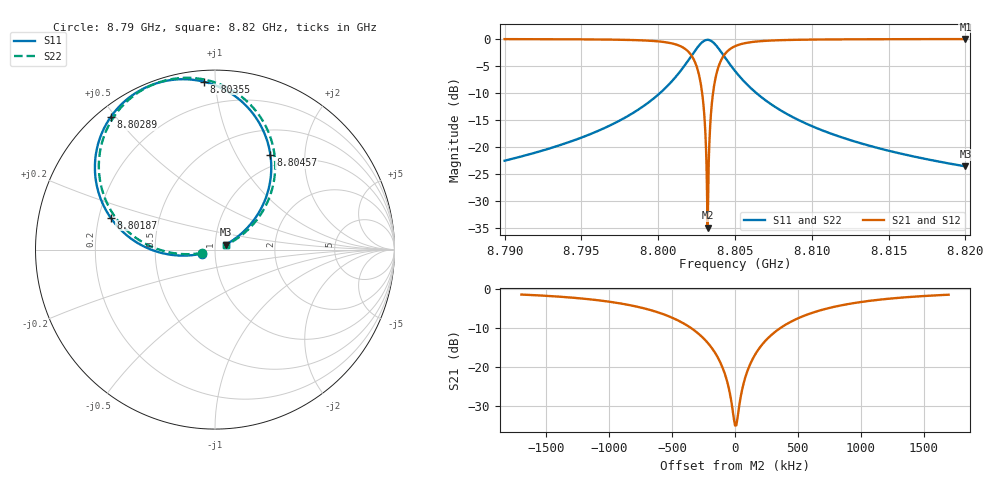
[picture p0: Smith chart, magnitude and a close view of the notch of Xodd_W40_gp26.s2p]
! Sonnet Data File
! From: emgraph Version : 16.52
! From Project: Qubit_Xmon2
! Data is De-embedded
! Data File Written: 10/18/2017 14:46:52
!< HDATE 10/18/2017 13:36:36
!< MDATE 10/18/2017 13:36:36
!< PARAMS
!< Lj = 11.0
!< Gap = 26.0
!< Pwid = 2000.0
!< Airgap = 24.0
!< Width = 40.0
!< END PARAMS
# GHZ S MA R 43.40000
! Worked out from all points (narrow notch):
!   3001 points, 8.79 GHz to 8.82 GHz, reference 43.4 ohm
!   highest |S21| = -0.02 dB at 8.82 GHz (marker M1); lowest = -34.9 dB at 8.80321 GHz (marker M2)
!   notch at M2: 34.8 dB deep, 285 kHz wide at half that depth
!   lowest |S11| = -23.6 dB at 8.82 GHz (marker M3), VSWR 1.14, Z = 48.9 + j2.74 ohm
!   |S11| at or under -10 dB: start of sweep to 8.800119 GHz; 8.806389 GHz to end of sweep
!   |S22| runs from -23.6 to -0.2 dB; largest |S21 - S12| = 0
!   S11 on the Smith chart (normalised r, x): 8.79 GHz: 0.87, -0.04; 8.80187 GHz: 0.25, +0.14; 8.80289 GHz: 0.04, +0.48; 8.80355 GHz: 0.06, +0.93; 8.80457 GHz: 0.83, +1.39; 8.82 GHz: 1.13, +0.06
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8.79  0.07483 -163.0  0.9971 -74.3  0.9971 -74.3  0.07483 -165.8
!< P1 F=8.79 Eeff=(4.81771806 -6.2668e-5) Z0=(43.3161425 -1.8142e-4) R=0.0 C=0.0
!< P2 F=8.79 Eeff=(4.81771806 -6.2668e-5) Z0=(43.3161425 -1.8142e-4) R=0.0 C=0.0
8.795  0.1223 -165.8  0.9922 -77.1  0.9922 -77.1  0.1223 -168.6
8.79784  0.1871 -169.7  0.9817 -80.9  0.9817 -80.9  0.1871 -172.4
8.8  0.3055 -176.9  0.9504 -87.9  0.9504 -87.9  0.3055 -179.6
8.80113  0.4442 174.4  0.892 -96.5  0.892 -96.5  0.4442 171.6
8.80187  0.6081 163.0  0.7855 -107.6  0.7855 -107.6  0.6081 160.3
8.80251  0.8187 144.8  0.5531 -125.1  0.5531 -125.1  0.8187 142.1
8.80273  0.894 135.8  0.4152 -133.4  0.4152 -133.4  0.894 133.0
8.80289  0.9397 128.2  0.2926 -139.9  0.2926 -139.9  0.9397 125.5
8.803  0.9632 122.7  0.1987 -143.8  0.1987 -143.8  0.9632 119.9
8.80312  0.9787 116.3  0.09051 -144.0  0.09051 -144.0  0.9787 113.6
8.80321  0.9826 111.5  0.01797 -85.0  0.01797 -85.0  0.9826 108.8
8.80331  0.9788 106.1  0.09045 3.8  0.09045 3.8  0.9788 103.4
8.80343  0.9633 99.8  0.1984 3.6  0.1984 3.6  0.9633 97.1
8.80355  0.9375 93.8  0.3001 -0.7  0.3001 -0.7  0.9375 91.1
8.80393  0.8167 77.4  0.5564 -15.4  0.5564 -15.4  0.8167 74.7
8.80457  0.6094 59.5  0.7846 -32.6  0.7846 -32.6  0.6094 56.8
8.805  0.5063 52.2  0.8572 -39.7  0.8572 -39.7  0.5063 49.5
8.80672  0.2894 38.3  0.9557 -53.3  0.9557 -53.3  0.2894 35.6
8.81  0.1564 30.3  0.9873 -61.2  0.9873 -61.2  0.1564 27.6
8.815  0.09253 26.5  0.9956 -64.9  0.9956 -64.9  0.09253 23.8
8.82  0.06631 24.9  0.9977 -66.5  0.9977 -66.5  0.06631 22.3
